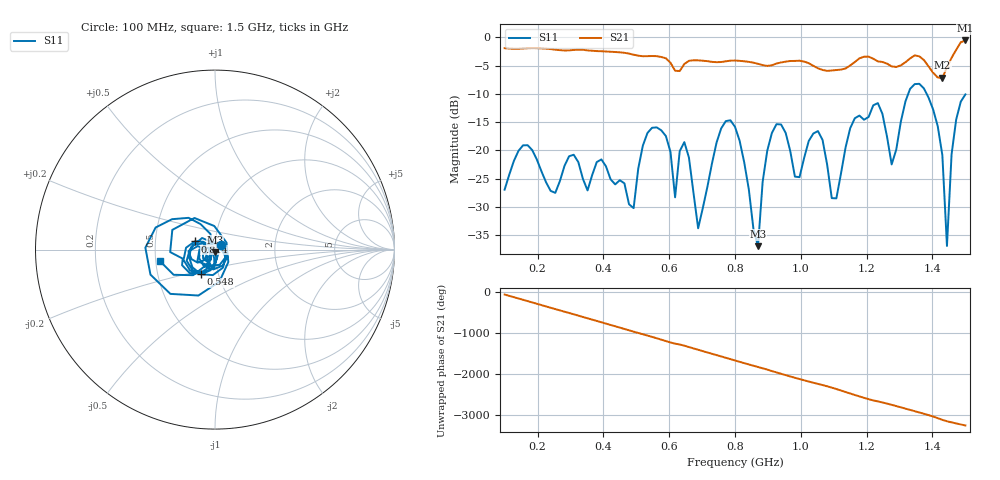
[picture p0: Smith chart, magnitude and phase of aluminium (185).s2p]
! NanoVNA-App
! Date: 2025-09-25 14:56:43
! Start: 100MHz Stop: 1,5GHz Points: 101
! S-Parameter data: F S11 S21 S12 S22
# Hz S RI R 50
!  Frequency  S11_Real  S11_Imag  S21_Real  S21_Imag  S12_Real  S12_Imag  S22_Real  S22_Imag
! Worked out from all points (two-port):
!   101 points, 100 MHz to 1.5 GHz, reference 50 ohm
!   highest |S21| = -0.55 dB at 1.5 GHz (marker M1); lowest = -7.2 dB at 1.43 GHz (marker M2)
!   |S21| within 3 dB of the highest: start of sweep to 580.6 MHz; 1.459 GHz to end of sweep (the widest 2 of 4)
!   lowest |S11| = -37.0 dB at 870 MHz (marker M3), VSWR 1.03, Z = 49.9 - j1.42 ohm
!   |S11| at or under -10 dB: start of sweep to 1.326 GHz; 1.382 GHz to end of sweep
!   S12 and S22 are empty: the file has one direction only
!   S11 on the Smith chart (normalised r, x): 100 MHz: 1.07, +0.06; 548 MHz: 0.82, -0.23; 814 MHz: 0.79, +0.07; 1.5 GHz: 0.53, -0.08
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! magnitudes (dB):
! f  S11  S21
! 100 MHz  -27.0  -1.9
! 338 MHz  -25.1  -2.2
! 492 MHz  -30.2  -3.1
! 548 MHz  -16.0  -3.3
! 576 MHz  -16.5  -3.5
! 618 MHz  -28.3  -5.9
! 646 MHz  -18.5  -4.7
! 688 MHz  -33.8  -4.1
! 800 MHz  -15.8  -4.1
! 814 MHz  -18.3  -4.2
! 870 MHz  -37.0  -4.7
! 912 MHz  -16.9  -4.9
! 996 MHz  -24.7  -4.1
! 1.038 GHz  -17.0  -5.0
! 1.094 GHz  -28.5  -5.9
! 1.22 GHz  -12.0  -3.8
! 1.276 GHz  -22.5  -5.1
! 1.346 GHz  -8.3  -3.2
! 1.43 GHz  -20.8  -7.2
! 1.444 GHz  -36.9  -5.3
! 1.458 GHz  -20.7  -3.6
! 1.5 GHz  -10.1  -0.6
